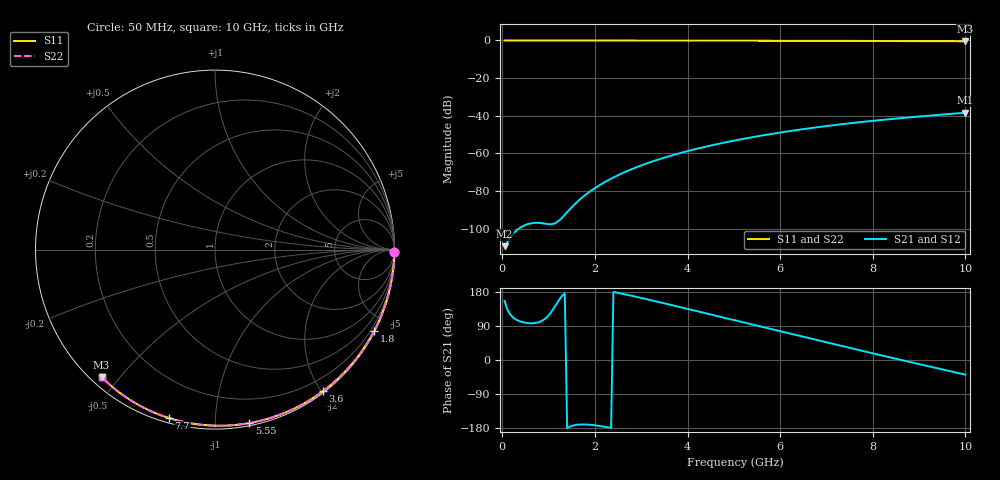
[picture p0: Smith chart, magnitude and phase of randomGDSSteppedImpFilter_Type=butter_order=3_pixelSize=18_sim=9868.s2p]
! freq	dB(S11)	phase(S11)	dB(S12)	phase(S12)
!  dB(S21)	phase(S21)	dB(S22)	phase(S22)
!S-par simulation data
#  GHz  S  DB  R 50
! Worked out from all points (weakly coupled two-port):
!   200 points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, 50 MHz to 10 GHz, reference 50 ohm
!   highest |S21| = -38.38 dB at 10 GHz (marker M1); lowest = -109.3 dB at 50 MHz (marker M2)
!   lowest |S11| = -0.4 dB at 10 GHz (marker M3), VSWR 39.02, Z = 1.54 - j22.4 ohm
!   |S11| at or under -10 dB: nowhere
!   |S22| runs from -0.4 to 0.0 dB; largest |S21 - S12| = 0
!   S11 on the Smith chart (normalised r, x): 50 MHz: open; 1.8 GHz: 0.04, -4.17; 3.6 GHz: 0.02, -2.01; 5.55 GHz: 0.02, -1.22; 7.7 GHz: 0.02, -0.76; 10 GHz: 0.03, -0.45
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0.05  -0.00 -0.8  -109.33 155.7  -109.33 155.7  -0.00 -0.8
0.45  -0.01 -6.8  -98.62 99.5  -98.62 99.5  -0.01 -6.8
0.9  -0.02 -13.6  -97.29 106.8  -97.29 106.8  -0.02 -13.6
1.75  -0.03 -26.3  -82.94 -170.1  -82.94 -170.1  -0.03 -26.3
1.8  -0.03 -27.0  -81.96 -170.2  -81.96 -170.2  -0.03 -27.0
1.9  -0.04 -28.5  -80.13 -171.0  -80.13 -171.0  -0.04 -28.5
2.25  -0.04 -33.6  -74.74 -177.0  -74.74 -177.0  -0.04 -33.6
2.45  -0.05 -36.5  -72.19 178.4  -72.19 178.4  -0.05 -36.5
2.65  -0.05 -39.4  -69.90 173.3  -69.90 173.3  -0.05 -39.4
3  -0.06 -44.4  -66.42 163.8  -66.42 163.8  -0.06 -44.4
3.4  -0.07 -50.0  -63.03 152.3  -63.03 152.3  -0.07 -50.0
3.6  -0.07 -52.8  -61.52 146.5  -61.52 146.5  -0.07 -52.8
3.9  -0.08 -56.9  -59.45 137.7  -59.45 137.7  -0.08 -56.9
4.3  -0.09 -62.4  -56.97 126.0  -56.97 126.0  -0.09 -62.4
5.05  -0.11 -72.4  -53.02 103.9  -53.02 103.9  -0.11 -72.4
5.55  -0.13 -78.8  -50.76 89.2  -50.76 89.2  -0.13 -78.8
6.1  -0.15 -85.8  -48.56 73.1  -48.56 73.1  -0.15 -85.8
6.7  -0.18 -93.3  -46.44 55.4  -46.44 55.4  -0.18 -93.3
7.7  -0.24 -105.3  -43.48 26.2  -43.48 26.2  -0.24 -105.3
8.35  -0.29 -112.9  -41.87 7.5  -41.87 7.5  -0.29 -112.9
9.15  -0.36 -122.1  -40.12 -15.0  -40.12 -15.0  -0.36 -122.1
10  -0.45 -131.7  -38.38 -38.8  -38.38 -38.8  -0.45 -131.7
